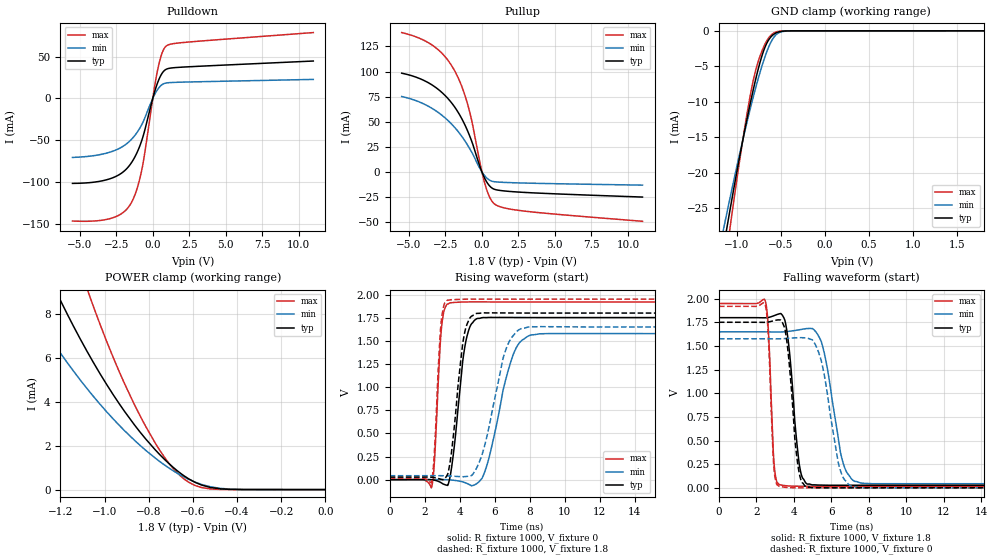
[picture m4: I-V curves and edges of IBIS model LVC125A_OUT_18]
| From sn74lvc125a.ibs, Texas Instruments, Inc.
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[Model]   LVC125A_OUT_18
Model_type  3-state
Enable   Active-Low
Vref =   0
Rref =   1000
Cref =   30p
Vmeas =   0.9
| variable   typ   min   max
C_comp   4.20pF   3.74pF   4.46pF
| C_pullup   6.22pF   4.08pF   7.26pF
| C_pulldown   6.43pF   4.61pF   8.40pF
| C_tri-state   4.20pF   3.74pF   4.46pF
[Temperature Range]   40   100   -40
| Ambient temperature   25   85   -40
[Voltage range]   1.8   1.65   1.95
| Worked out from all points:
|   slope of the pulldown table from 0 to 0.27 V, typ, clamps not added: 17.1 ohm
|   slope of the pullup table from 0 to 0.27 V, typ, clamps not added: 31.8 ohm
|   GND clamp passes 1 mA (typ) near -0.62 V on its own axis
|   POWER clamp passes 1 mA (typ) near -0.69 V on its own axis
|   rising waveform, R_fixture 1000, V_fixture 0: 20-80 % time 579ps typ, 1.12ns min, 302ps max; typ from 0 V to 1.75 V
|   falling waveform, R_fixture 1000, V_fixture 1.8: 20-80 % time 448ps typ, 772ps min, 231ps max; typ from 1.8 V to 0.027 V
|   rising waveform, R_fixture 1000, V_fixture 1.8: 20-80 % time 574ps typ, 1.09ns min, 297ps max; typ from 0.027 V to 1.8 V
|   falling waveform, R_fixture 1000, V_fixture 0: 20-80 % time 433ps typ, 770ps min, 230ps max; typ from 1.75 V to 0 V
[GND Clamp]
| LVC125A_OUT_18
|   Voltage   I(typ)   I(min)   I(max)
-5.5V     -457.6mA   -381.7mA   -564.5mA
-1.135V   -29.64mA   -27.2mA    -33.42mA
-1.1V     -27.1mA    -25.1mA    -30.16mA
-1.065V   -24.61mA   -23.04mA   -26.98mA
-910mV    -14.22mA   -14.38mA   -13.88mA
-810mV    -8.275mA   -9.302mA   -6.974mA
-755mV    -5.424mA   -6.761mA   -4.348mA
-695mV    -2.89mA    -4.283mA   -2.34mA
-595mV    -660.3uA   -1.249mA   -450.2uA
-515mV    -133.1uA   -242.3uA   -56.19uA
-380mV    -4.006uA   -8.196uA   -499.6nA
1.8V      36.92pA    15.82nA    17.91pA
[POWER Clamp]
| LVC125A_OUT_18
|   Voltage   I(typ)   I(min)   I(max)
-5.5V     208.4mA    160.5mA    290.8mA
-1.39V    12.86mA    9.177mA    19.6mA
-1.355V   12.03mA    8.592mA    18.27mA
-1.2V     8.608mA    6.21mA     12.83mA
-1.08V    6.3mA      4.602mA    9.152mA
-1.05V    5.771mA    4.233mA    8.311mA
-935mV    3.926mA    2.94mA     5.396mA
-815mV    2.319mA    1.8mA      2.897mA
-730mV    1.389mA    1.131mA    1.49mA
-640mV    626uA      571.9uA    482.8uA
-475mV    34.86uA    56.1uA     7.124uA
-95.1fV   36.92pA    170.2pA    19.57pA
[Pulldown]
| LVC125A_OUT_18
|   Voltage   I(typ)   I(min)   I(max)
-5.5V     -101.5mA   -70.49mA   -146.5mA
-2.765V   -94.94mA   -63.19mA   -142.7mA
-1.98V    -87.11mA   -56.52mA   -135.6mA
-1.445V   -76.36mA   -48.57mA   -123.8mA
-1.06V    -63.97mA   -40.17mA   -106.9mA
-720mV    -48.43mA   -30.11mA   -82.62mA
100mV     6.332mA    3.683mA    11.45mA
380mV     20.98mA    11.92mA    37.85mA
655mV     30.52mA    16.76mA    55.04mA
930mV     34.99mA    18.54mA    62.77mA
2.165V    37.62mA    19.6mA     67.03mA
11V       44.79mA    22.8mA     78.8mA
[Pullup]
| LVC125A_OUT_18
|   Voltage   I(typ)   I(min)   I(max)
-5.5V     98.34mA    75.13mA    138.8mA
-3.3V     85.48mA    62.26mA    125.1mA
-2.51V    75.88mA    53.65mA    114.4mA
-1.855V   64.36mA    44.15mA    100.3mA
-1.35V    52.16mA    34.83mA    83.9mA
-910mV    38.34mA    24.98mA    63.6mA
-45mV     1.702mA    1.045mA    2.973mA
245mV     -7.833mA   -4.696mA   -13.91mA
550mV     -14.22mA   -8.285mA   -25.68mA
865mV     -17.21mA   -9.662mA   -31.82mA
2.935V    -20.3mA    -10.97mA   -38.92mA
11V       -24.91mA   -13.04mA   -49.02mA
[Ramp]
| LVC125A_OUT_18
| variable   typ   min   max
dV/dt_r   1.09/6.33E-10   0.99/1.24E-09   1.21/3.24E-10
dV/dt_f   1.09/4.85E-10   0.99/8.47E-10   1.19/2.39E-10
R_load = 1000
[Rising Waveform]
| LVC125A_OUT_18
R_fixture =   1000
C_fixture =   0
L_fixture =   0
V_fixture =   0
V_fixture_min = 0
V_fixture_max = 0
|   Time   V(typ)   V(min)   V(max)
0s        184.9pV    4.622nV    16.25pV
2.395ns   -1.293mV   530.4uV    -82.78mV
2.56ns    -5.703mV   718.7uV    199.6mV
2.965ns   -36.07mV   596.2uV    1.644V
3.435ns   15.23mV    -2.647mV   1.909V
4.295ns   1.434V     -31.8mV    1.92V
4.975ns   1.739V     -43.47mV   1.921V
7.05ns    1.752V     1.345V     1.92V
7.97ns    1.752V     1.556V     1.92V
24.99ns   1.751V     1.577V     1.92V
[Falling Waveform]
| LVC125A_OUT_18
R_fixture =   1000
C_fixture =   0
L_fixture =   0
V_fixture =   1.8
V_fixture_min = 1.65
V_fixture_max = 1.95
|   Time   V(typ)   V(min)   V(max)
0s        1.8V       1.65V      1.95V
2.475ns   1.799V     1.65V      1.976V
2.945ns   1.821V     1.649V     256mV
3.23ns    1.841V     1.649V     33.04mV
3.61ns    1.683V     1.653V     21.19mV
4.71ns    39.94mV    1.685V     15.82mV
5.465ns   28.42mV    1.546V     16.06mV
6.525ns   26.54mV    339.3mV    16.24mV
7.245ns   26.85mV    68.08mV    16.27mV
24.99ns   27.13mV    42.42mV    16.27mV
[Rising Waveform]
| LVC125A_OUT_18
R_fixture =   1000
C_fixture =   0
L_fixture =   0
V_fixture =   1.8
V_fixture_min = 1.65
V_fixture_max = 1.95
|   Time   V(typ)   V(min)   V(max)
0s        27.13mV    42.42mV    16.27mV
2.385ns   26.02mV    42.83mV    -33.66mV
2.55ns    22.37mV    42.93mV    276.1mV
2.925ns   4.63mV     42.58mV    1.664V
3.305ns   54.57mV    40.91mV    1.939V
4.225ns   1.527V     31.76mV    1.949V
4.9ns     1.792V     100.7mV    1.951V
6.565ns   1.801V     1.363V     1.95V
7.485ns   1.8V       1.63V      1.95V
24.99ns   1.8V       1.65V      1.95V
[Falling Waveform]
| LVC125A_OUT_18
R_fixture =   1000
C_fixture =   0
L_fixture =   0
V_fixture =   0
V_fixture_min = 0
V_fixture_max = 0
|   Time   V(typ)   V(min)   V(max)
0s        1.751V     1.577V     1.92V
2.465ns   1.751V     1.577V     1.939V
2.63ns    1.754V     1.576V     1.635V
2.93ns    1.768V     1.576V     229.3mV
3.21ns    1.776V     1.576V     15.53mV
3.625ns   1.551V     1.58V      3.916mV
4.25ns    195.6mV    1.588V     -116.5uV
4.675ns   6.493mV    1.585V     -413.7uV
7.065ns   -306uV     16.71mV    -2.262uV
24.99ns   939.5pV    5.745nV    -514.1pV
